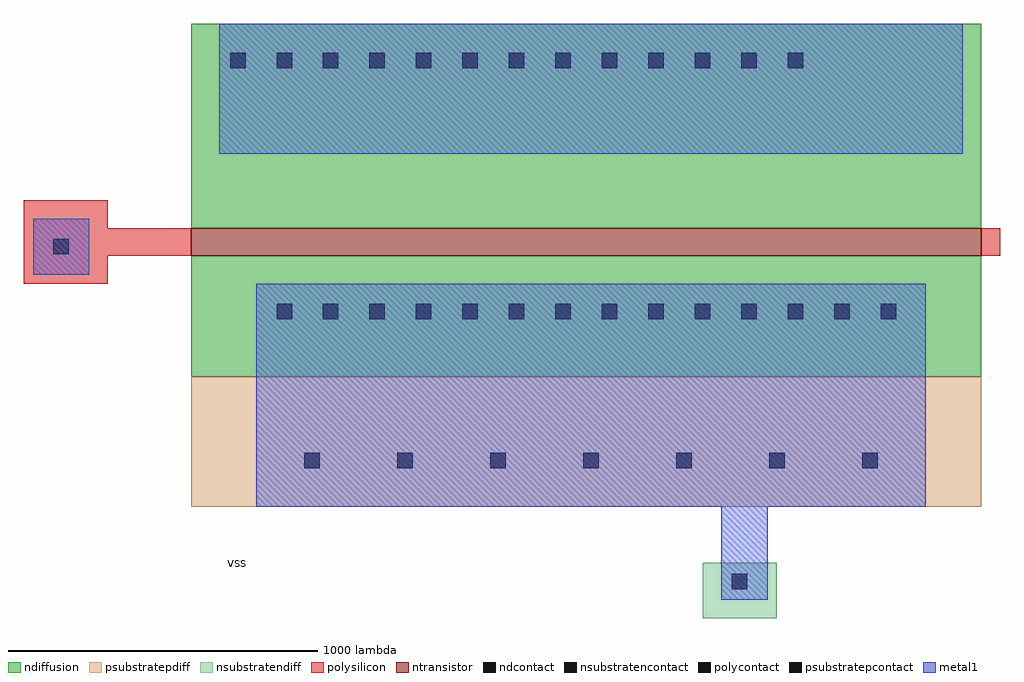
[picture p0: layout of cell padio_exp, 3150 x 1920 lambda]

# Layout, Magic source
magic
tech amic5n
<< ntransistor >>
rect 2250 1830 4800 1920
<< ndiffusion >>
rect 2250 1920 4800 2580
rect 2250 1440 4800 1830
<< psubstratepdiff >>
rect 2250 1020 4800 1440
<< nsubstratendiff >>
rect 3900 660 4140 840
<< polysilicon >>
rect 1710 1920 1980 2010
rect 1710 1830 2250 1920
rect 4800 1830 4860 1920
rect 1710 1740 1980 1830
<< ndcontact >>
rect 2375 2435 2425 2485
<< ndcontact >>
rect 2525 2435 2575 2485
<< ndcontact >>
rect 2675 2435 2725 2485
<< ndcontact >>
rect 2825 2435 2875 2485
<< ndcontact >>
rect 2975 2435 3025 2485
<< ndcontact >>
rect 3125 2435 3175 2485
<< ndcontact >>
rect 3275 2435 3325 2485
<< ndcontact >>
rect 3425 2435 3475 2485
<< ndcontact >>
rect 3575 2435 3625 2485
<< ndcontact >>
rect 3725 2435 3775 2485
<< ndcontact >>
rect 3875 2435 3925 2485
<< ndcontact >>
rect 4025 2435 4075 2485
<< ndcontact >>
rect 4175 2435 4225 2485
<< polycontact >>
rect 1805 1835 1855 1885
<< ndcontact >>
rect 2525 1625 2575 1675
<< ndcontact >>
rect 2675 1625 2725 1675
<< ndcontact >>
rect 2825 1625 2875 1675
<< ndcontact >>
rect 2975 1625 3025 1675
<< ndcontact >>
rect 3125 1625 3175 1675
<< ndcontact >>
rect 3275 1625 3325 1675
<< ndcontact >>
rect 3425 1625 3475 1675
<< ndcontact >>
rect 3575 1625 3625 1675
<< ndcontact >>
rect 3725 1625 3775 1675
<< ndcontact >>
rect 3875 1625 3925 1675
<< ndcontact >>
rect 4025 1625 4075 1675
<< ndcontact >>
rect 4175 1625 4225 1675
<< ndcontact >>
rect 4325 1625 4375 1675
<< ndcontact >>
rect 4475 1625 4525 1675
<< psubstratepcontact >>
rect 2615 1145 2665 1195
<< psubstratepcontact >>
rect 2915 1145 2965 1195
<< psubstratepcontact >>
rect 3215 1145 3265 1195
<< psubstratepcontact >>
rect 3515 1145 3565 1195
<< psubstratepcontact >>
rect 3815 1145 3865 1195
<< psubstratepcontact >>
rect 4115 1145 4165 1195
<< psubstratepcontact >>
rect 4415 1145 4465 1195
<< nsubstratencontact >>
rect 3995 755 4045 805
<< metal1 >>
rect 2340 2160 4740 2580
rect 1740 1770 1920 1950
rect 2460 1020 4620 1740
rect 3960 720 4110 1020
<< labels >>
flabel space  2400 840 2400 840 1 FreeSans 400 0 0 0 vss
<< end >>
